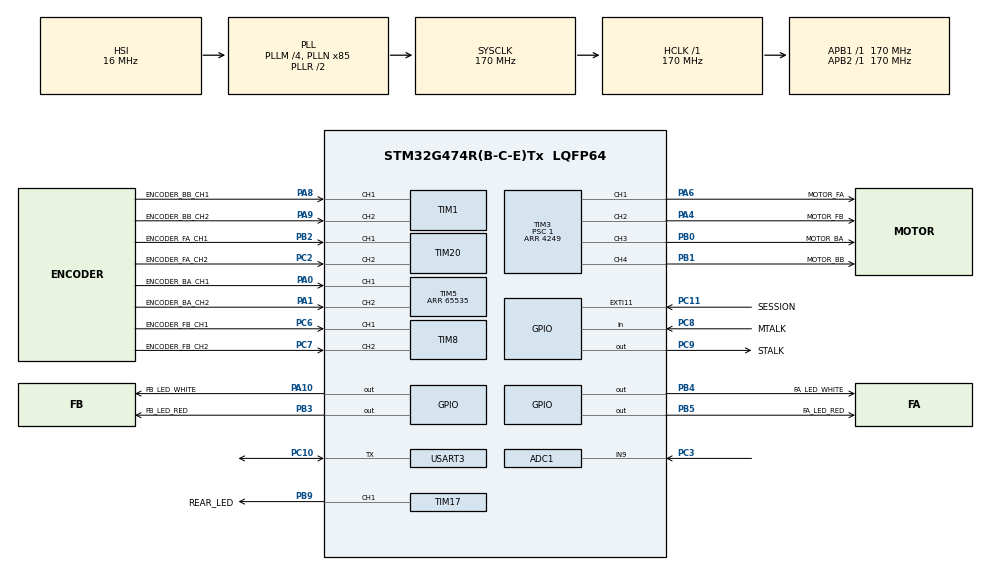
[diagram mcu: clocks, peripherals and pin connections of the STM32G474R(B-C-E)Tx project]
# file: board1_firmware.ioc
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ADC1.Channel-0\#ChannelRegularConversion=ADC_CHANNEL_TEMPSENSOR_ADC1
ADC1.NbrOfConversionFlag=1
ADC1.OffsetNumber-0\#ChannelRegularConversion=ADC_OFFSET_NONE
ADC1.Rank-0\#ChannelRegularConversion=1
ADC1.SamplingTime-0\#ChannelRegularConversion=ADC_SAMPLETIME_2CYCLES_5
ADC1.master=1
Dma.Request0=USART3_RX
Dma.Request1=USART3_TX
Dma.Request2=TIM17_CH1
Dma.TIM17_CH1.2.Direction=DMA_MEMORY_TO_PERIPH
Dma.TIM17_CH1.2.EventEnable=DISABLE
Dma.TIM17_CH1.2.Instance=DMA1_Channel3
Dma.TIM17_CH1.2.MemDataAlignment=DMA_MDATAALIGN_BYTE
Dma.TIM17_CH1.2.MemInc=DMA_MINC_ENABLE
Dma.TIM17_CH1.2.Mode=DMA_CIRCULAR
Dma.TIM17_CH1.2.PeriphDataAlignment=DMA_PDATAALIGN_WORD
Dma.TIM17_CH1.2.PeriphInc=DMA_PINC_DISABLE
Dma.TIM17_CH1.2.Polarity=HAL_DMAMUX_REQ_GEN_RISING
Dma.TIM17_CH1.2.Priority=DMA_PRIORITY_LOW
Dma.TIM17_CH1.2.RequestNumber=1
Dma.TIM17_CH1.2.SignalID=NONE
Dma.TIM17_CH1.2.SyncEnable=DISABLE
Dma.TIM17_CH1.2.SyncPolarity=HAL_DMAMUX_SYNC_NO_EVENT
Dma.TIM17_CH1.2.SyncRequestNumber=1
Dma.TIM17_CH1.2.SyncSignalID=NONE
Dma.USART3_RX.0.Direction=DMA_PERIPH_TO_MEMORY
Dma.USART3_RX.0.EventEnable=DISABLE
Dma.USART3_RX.0.Instance=DMA1_Channel1
Dma.USART3_RX.0.MemDataAlignment=DMA_MDATAALIGN_BYTE
Dma.USART3_RX.0.MemInc=DMA_MINC_ENABLE
Dma.USART3_RX.0.Mode=DMA_NORMAL
Dma.USART3_RX.0.PeriphDataAlignment=DMA_PDATAALIGN_BYTE
Dma.USART3_RX.0.PeriphInc=DMA_PINC_DISABLE
Dma.USART3_RX.0.Polarity=HAL_DMAMUX_REQ_GEN_RISING
Dma.USART3_RX.0.Priority=DMA_PRIORITY_LOW
Dma.USART3_RX.0.RequestNumber=1
Dma.USART3_RX.0.SignalID=NONE
Dma.USART3_RX.0.SyncEnable=DISABLE
Dma.USART3_RX.0.SyncPolarity=HAL_DMAMUX_SYNC_NO_EVENT
Dma.USART3_RX.0.SyncRequestNumber=1
Dma.USART3_RX.0.SyncSignalID=NONE
Dma.USART3_TX.1.Direction=DMA_MEMORY_TO_PERIPH
Dma.USART3_TX.1.EventEnable=DISABLE
Dma.USART3_TX.1.Instance=DMA1_Channel2
Dma.USART3_TX.1.MemDataAlignment=DMA_MDATAALIGN_BYTE
Dma.USART3_TX.1.MemInc=DMA_MINC_ENABLE
Dma.USART3_TX.1.Mode=DMA_NORMAL
Dma.USART3_TX.1.PeriphDataAlignment=DMA_PDATAALIGN_BYTE
Dma.USART3_TX.1.PeriphInc=DMA_PINC_DISABLE
Dma.USART3_TX.1.Polarity=HAL_DMAMUX_REQ_GEN_RISING
Dma.USART3_TX.1.Priority=DMA_PRIORITY_LOW
Dma.USART3_TX.1.RequestNumber=1
Dma.USART3_TX.1.SignalID=NONE
Dma.USART3_TX.1.SyncEnable=DISABLE
Dma.USART3_TX.1.SyncPolarity=HAL_DMAMUX_SYNC_NO_EVENT
Dma.USART3_TX.1.SyncRequestNumber=1
Dma.USART3_TX.1.SyncSignalID=NONE
FREERTOS.Events01=SessionEvent,Static,SessionEventControlBlock
FREERTOS.Tasks01=supervision,24,512,supervisionTask,Default,NULL,Static,supervisionBuffer,supervisionControlBlock;readSensors,16,256,readSensorsTask,Default,NULL,Static,readSensorsBuffer,readSensorsControlBlock;pid,32,384,pidTask,Default,NULL,Static,pidBuffer,pidControlBlock;lights,25,128,lightsTask,Default,NULL,Static,lightsBuffer,lightsControlBlock
FREERTOS.configENABLE_FPU=1
FREERTOS.configTOTAL_HEAP_SIZE=15360
FREERTOS.configUSE_NEWLIB_REENTRANT=1
Mcu.Family=STM32G4
Mcu.Name=STM32G474R(B-C-E)Tx
Mcu.Package=LQFP64
NVIC.DMA1_Channel1_IRQn=true\:5\:0\:false\:false\:true\:true\:false\:true\:true
NVIC.DMA1_Channel2_IRQn=true\:5\:0\:false\:false\:true\:true\:false\:true\:true
NVIC.DMA1_Channel3_IRQn=true\:0\:0\:false\:false\:true\:false\:false\:true\:true
NVIC.EXTI15_10_IRQn=true\:5\:0\:false\:false\:true\:true\:true\:true\:true
NVIC.PriorityGroup=NVIC_PRIORITYGROUP_4
NVIC.TIM4_IRQn=true\:5\:0\:false\:false\:true\:true\:true\:true\:true
NVIC.TIM6_DAC_IRQn=true\:15\:0\:false\:false\:true\:false\:false\:true\:true
NVIC.TimeBase=TIM6_DAC_IRQn
NVIC.TimeBaseIP=TIM6
NVIC.USART3_IRQn=true\:5\:0\:false\:false\:true\:true\:true\:true\:true
PA0.GPIO_Label=ENCODER_BA_CH1
PA0.Signal=S_TIM5_CH1
PA1.GPIO_Label=ENCODER_BA_CH2
PA1.Signal=S_TIM5_CH2
PA10.GPIO_Label=FB_LED_WHITE
PA10.Signal=GPIO_Output
PA4.GPIO_Label=MOTOR_FB
PA4.Signal=S_TIM3_CH2
PA6.GPIO_Label=MOTOR_FA
PA6.Signal=S_TIM3_CH1
PA8.GPIO_Label=ENCODER_BB_CH1
PA8.Signal=S_TIM1_CH1
PA9.GPIO_Label=ENCODER_BB_CH2
PA9.Signal=S_TIM1_CH2
PB0.GPIO_Label=MOTOR_BA
PB0.Signal=S_TIM3_CH3
PB1.GPIO_Label=MOTOR_BB
PB1.Signal=S_TIM3_CH4
PB2.GPIO_Label=ENCODER_FA_CH1
PB2.Signal=S_TIM20_CH1
PB3.GPIO_Label=FB_LED_RED
PB3.Signal=GPIO_Output
PB4.GPIO_Label=FA_LED_WHITE
PB4.Signal=GPIO_Output
PB5.GPIO_Label=FA_LED_RED
PB5.Signal=GPIO_Output
PB9.GPIO_Label=REAR_LED
PB9.Signal=S_TIM17_CH1
PC10.GPIO_PuPd=GPIO_NOPULL
PC10.Mode=Half_duplex(single_wire_mode)
PC10.Signal=USART3_TX
PC11.GPIO_Label=SESSION
PC11.GPIO_PuPd=GPIO_PULLDOWN
PC11.Signal=GPXTI11
PC2.GPIO_Label=ENCODER_FA_CH2
PC2.Signal=S_TIM20_CH2
PC3.Mode=IN9-Single-Ended
PC3.Signal=ADC1_IN9
PC6.GPIO_Label=ENCODER_FB_CH1
PC6.Signal=S_TIM8_CH1
PC7.GPIO_Label=ENCODER_FB_CH2
PC7.Signal=S_TIM8_CH2
PC8.GPIO_Label=MTALK
PC8.GPIO_PuPd=GPIO_PULLDOWN
PC8.Signal=GPIO_Input
PC9.GPIO_Label=STALK
PC9.Signal=GPIO_Output
ProjectManager.HeapSize=0x200
ProjectManager.StackSize=0x400
ProjectManager.TargetToolchain=STM32CubeIDE
RCC.ADC12Freq_Value=170000000
RCC.ADC345Freq_Value=170000000
RCC.AHBFreq_Value=170000000
RCC.APB1Freq_Value=170000000
RCC.APB1TimFreq_Value=170000000
RCC.APB2Freq_Value=170000000
RCC.APB2TimFreq_Value=170000000
RCC.CortexFreq_Value=170000000
RCC.EXTERNAL_CLOCK_VALUE=12288000
RCC.HCLKFreq_Value=170000000
RCC.HSE_VALUE=8000000
RCC.HSI48_VALUE=48000000
RCC.HSI_VALUE=16000000
RCC.LSE_VALUE=32768
RCC.PLLM=RCC_PLLM_DIV4
RCC.PLLN=85
RCC.SYSCLKFreq_VALUE=170000000
RCC.SYSCLKSource=RCC_SYSCLKSOURCE_PLLCLK
RCC.USBFreq_Value=170000000
RCC.VCOOutputFreq_Value=340000000
SH.S_TIM17_CH1.0=TIM17_CH1,PWM Generation1 CH1
SH.S_TIM1_CH1.0=TIM1_CH1,Encoder_Interface
SH.S_TIM1_CH2.0=TIM1_CH2,Encoder_Interface
SH.S_TIM20_CH1.0=TIM20_CH1,Encoder_Interface
SH.S_TIM20_CH2.0=TIM20_CH2,Encoder_Interface
SH.S_TIM3_CH1.0=TIM3_CH1,PWM Generation1 CH1
SH.S_TIM3_CH2.0=TIM3_CH2,PWM Generation2 CH2
SH.S_TIM3_CH3.0=TIM3_CH3,PWM Generation3 CH3
SH.S_TIM3_CH4.0=TIM3_CH4,PWM Generation4 CH4
SH.S_TIM5_CH1.0=TIM5_CH1,Encoder_Interface
SH.S_TIM5_CH2.0=TIM5_CH2,Encoder_Interface
SH.S_TIM8_CH1.0=TIM8_CH1,Encoder_Interface
SH.S_TIM8_CH2.0=TIM8_CH2,Encoder_Interface
TIM1.EncoderMode=TIM_ENCODERMODE_TI12
TIM1.IC1Filter=5
TIM1.IC2Filter=5
TIM17.Channel=TIM_CHANNEL_1
TIM17.PeriodNoDither=211
TIM2.Prescaler=169
TIM20.EncoderMode=TIM_ENCODERMODE_TI12
TIM20.IC1Filter=5
TIM20.IC2Filter=5
TIM3.Channel-PWM\ Generation1\ CH1=TIM_CHANNEL_1
TIM3.Channel-PWM\ Generation2\ CH2=TIM_CHANNEL_2
TIM3.Channel-PWM\ Generation3\ CH3=TIM_CHANNEL_3
TIM3.Channel-PWM\ Generation4\ CH4=TIM_CHANNEL_4
TIM3.Dithering=Disable
TIM3.PeriodNoDither=4249
TIM3.Prescaler=1
TIM4.PeriodNoDither=21999
TIM4.Prescaler=1699
TIM5.EncoderMode=TIM_ENCODERMODE_TI12
TIM5.IC1Filter=5
TIM5.IC2Filter=5
TIM5.PeriodNoDither=65535
TIM8.EncoderMode=TIM_ENCODERMODE_TI12
TIM8.IC1Filter=5
TIM8.IC2Filter=5
USART3.BaudRate=115200
USART3.VirtualMode-Half_duplex(single_wire_mode)=VM_ASYNC
VP_ADC1_TempSens_Input.Mode=IN-TempSens
VP_CRC_VS_CRC.Mode=CRC_Activate
VP_FREERTOS_VS_CMSIS_V2.Mode=CMSIS_V2
VP_SYS_VS_DBSignals.Mode=DisableDeadBatterySignals
VP_SYS_VS_tim6.Mode=TIM6
VP_TIM17_VS_ClockSourceINT.Mode=Enable_Timer
VP_TIM2_VS_ClockSourceINT.Mode=Internal
VP_TIM4_VS_ClockSourceINT.Mode=Internal
board=custom

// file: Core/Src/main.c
/* USER CODE BEGIN Header */
/**
  ******************************************************************************
  * @file           : main.c
  * @brief          : Main program body
  ******************************************************************************
  * @attention
  *
  * Copyright (c) 2025 STMicroelectronics.
  * All rights reserved.
  *
  * This software is licensed under terms that can be found in the LICENSE file
  * in the root directory of this software component.
  * If no LICENSE file comes with this software, it is provided AS-IS.
  *
  ******************************************************************************
  */
/* USER CODE END Header */
#include "main.h"
#include "cmsis_os.h"
#include "adc.h"
#include "crc.h"
#include "dma.h"
#include "tim.h"
#include "usart.h"
#include "gpio.h"

/* USER CODE BEGIN Includes */
#include "deadline_watchdog.h"
/* USER CODE END Includes */

/* USER CODE BEGIN PV */
extern Deadline_Watchdog_t hard_rt_deadline_wd;
extern boolean_T deadline;
boolean_T first_time = 0;
/* USER CODE END PV */

void SystemClock_Config(void);
void MX_FREERTOS_Init(void);

int main(void)
{

  /* MCU Configuration--------------------------------------------------------*/

  /* Reset of all peripherals, Initializes the Flash interface and the Systick. */
  HAL_Init();

  /* Configure the system clock */
  SystemClock_Config();

  /* Initialize all configured peripherals */
  MX_GPIO_Init();
  MX_DMA_Init();
  MX_CRC_Init();
  MX_TIM3_Init();
  MX_ADC1_Init();
  MX_TIM1_Init();
  MX_TIM5_Init();
  MX_TIM8_Init();
  MX_TIM20_Init();
  MX_TIM4_Init();
  MX_USART3_UART_Init();
  MX_TIM17_Init();
  MX_TIM2_Init();
  /* USER CODE BEGIN 2 */
  HAL_TIM_Base_Start(&htim2);
  /* USER CODE END 2 */

  /* Init scheduler */
  osKernelInitialize();

  /* Call init function for freertos objects (in cmsis_os2.c) */
  MX_FREERTOS_Init();

  /* Start scheduler */
  osKernelStart();

  /* We should never get here as control is now taken by the scheduler */

  /* Infinite loop */
  while (1)
  {

  }
}

void SystemClock_Config(void)
{
  RCC_OscInitTypeDef RCC_OscInitStruct = {0};
  RCC_ClkInitTypeDef RCC_ClkInitStruct = {0};

  /** Configure the main internal regulator output voltage
  */
  HAL_PWREx_ControlVoltageScaling(PWR_REGULATOR_VOLTAGE_SCALE1_BOOST);

  /** Initializes the RCC Oscillators according to the specified parameters
  * in the RCC_OscInitTypeDef structure.
  */
  RCC_OscInitStruct.OscillatorType = RCC_OSCILLATORTYPE_HSI;
  RCC_OscInitStruct.HSIState = RCC_HSI_ON;
  RCC_OscInitStruct.HSICalibrationValue = RCC_HSICALIBRATION_DEFAULT;
  RCC_OscInitStruct.PLL.PLLState = RCC_PLL_ON;
  RCC_OscInitStruct.PLL.PLLSource = RCC_PLLSOURCE_HSI;
  RCC_OscInitStruct.PLL.PLLM = RCC_PLLM_DIV4;
  RCC_OscInitStruct.PLL.PLLN = 85;
  RCC_OscInitStruct.PLL.PLLP = RCC_PLLP_DIV2;
  RCC_OscInitStruct.PLL.PLLQ = RCC_PLLQ_DIV2;
  RCC_OscInitStruct.PLL.PLLR = RCC_PLLR_DIV2;
  if (HAL_RCC_OscConfig(&RCC_OscInitStruct) != HAL_OK)
  {
    Error_Handler();
  }

  /** Initializes the CPU, AHB and APB buses clocks
  */
  RCC_ClkInitStruct.ClockType = RCC_CLOCKTYPE_HCLK|RCC_CLOCKTYPE_SYSCLK
                              |RCC_CLOCKTYPE_PCLK1|RCC_CLOCKTYPE_PCLK2;
  RCC_ClkInitStruct.SYSCLKSource = RCC_SYSCLKSOURCE_PLLCLK;
  RCC_ClkInitStruct.AHBCLKDivider = RCC_SYSCLK_DIV1;
  RCC_ClkInitStruct.APB1CLKDivider = RCC_HCLK_DIV1;
  RCC_ClkInitStruct.APB2CLKDivider = RCC_HCLK_DIV1;

  if (HAL_RCC_ClockConfig(&RCC_ClkInitStruct, FLASH_LATENCY_4) != HAL_OK)
  {
    Error_Handler();
  }
}

void HAL_TIM_PeriodElapsedCallback(TIM_HandleTypeDef *htim)
{
  if (htim->Instance == TIM6)
  {
    HAL_IncTick();
  }
  /* USER CODE BEGIN Callback 1 */
  DWD_CheckStatus(&hard_rt_deadline_wd, htim);
  /* USER CODE END Callback 1 */
}

void Error_Handler(void)
{
  __disable_irq();
  while (1)
  {
  }
}

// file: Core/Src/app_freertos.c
/* USER CODE BEGIN Header */
/**
  ******************************************************************************
  * File Name          : app_freertos.c
  * Description        : Code for freertos applications
  ******************************************************************************
  * @attention
  *
  * Copyright (c) 2025 STMicroelectronics.
  * All rights reserved.
  *
  * This software is licensed under terms that can be found in the LICENSE file
  * in the root directory of this software component.
  * If no LICENSE file comes with this software, it is provided AS-IS.
  *
  ******************************************************************************
  */
/* USER CODE END Header */

#include "FreeRTOS.h"
#include "task.h"
#include "main.h"
#include "cmsis_os.h"

/* USER CODE BEGIN Includes */
#include "Board1.h"
#include "batt.h"
#include "temp.h"
#include "encoder.h"
#include "pid_law.h"
#include "motor.h"
#include "stdlib.h"
#include "led.h"
#include "led_stripes.h"
#include "deadline_watchdog.h"
#include "utils.h"
#include "hw_config.h"
#include "motor_diagnostic.h"
/* USER CODE END Includes */

typedef StaticTask_t osStaticThreadDef_t;
typedef StaticEventGroup_t osStaticEventGroupDef_t;

/* USER CODE BEGIN PD */
#define DWD_FLAG_SUPERVISION		(1U << 0)
#define DWD_FLAG_READ_SENSORS		(1U << 1)
#define DWD_FLAG_PID				(1U << 2)
#define DWD_FLAG_LIGHT				(1U << 3)

#define SYSTEM_ALIVE_MASK (DWD_FLAG_SUPERVISION | DWD_FLAG_READ_SENSORS | DWD_FLAG_PID | DWD_FLAG_LIGHT )

#define EVT_SESSION   			(1U << 0)

#define PID_PERIOD				(5.0f)
#define LIGHTS_PERIOD			(50)
#define SUPERVISION_PERIOD	    (60)

#define RAMP_STEP_DEFAULT (RAMP_SLOPE_DEFAULT_RPM_S * (PID_PERIOD / 1000.0f))
#define RAMP_STEP_SPORT   (RAMP_SLOPE_SPORT_RPM_S   * (PID_PERIOD / 1000.0f))
#define RAMP_STEP_ECO     (RAMP_SLOPE_ECO_RPM_S     * (PID_PERIOD / 1000.0f))

#define DIAG_DELAY_SHIFT    0
#define DIAG_MAX_AREA_ERR   5000.0f

/* USER CODE END PD */

/* USER CODE BEGIN Variables */

MotorDiag_Handle_t h_diag_FA;
MotorDiag_Handle_t h_diag_FB;
MotorDiag_Handle_t h_diag_BA;
MotorDiag_Handle_t h_diag_BB;

Deadline_Watchdog_t hard_rt_deadline_wd;

EncoderHandle encoder_FA;
EncoderHandle encoder_FB;
EncoderHandle encoder_BA;
EncoderHandle encoder_BB;
EncoderHandle encoder_FA_pid;
EncoderHandle encoder_FB_pid;
EncoderHandle encoder_BA_pid;
EncoderHandle encoder_BB_pid;

temp_t temp_sensor;
batt_t battery_sensor;

int16_T vel_FA = 0;
int16_T vel_FB = 0;
int16_T vel_BA = 0;
int16_T vel_BB = 0;

Motor_t motor_FA;
Motor_t motor_FB;
Motor_t motor_BA;
Motor_t motor_BB;

float control_BB = 0.0;
float control_BA = 0.0;
float control_FB = 0.0;
float control_FA = 0.0;

uint8_t out_BB = 0;
uint8_t out_BA = 0;
uint8_t out_FB = 0;
uint8_t out_FA = 0;

PID_Law_t pid_FA;
PID_Law_t pid_FB;
PID_Law_t pid_BA;
PID_Law_t pid_BB;

real32_T a1 = 1.0;

real32_T b0_FA = 0.011526;
real32_T b0_FB = 0.012068;
real32_T b0_BA = 0.01182;
real32_T b0_BB = 0.011206;

real32_T b1_FA = -0.0062;
real32_T b1_FB = -0.0066;
real32_T b1_BA = -0.0062;
real32_T b1_BB = -0.0059;

real32_T ramp_step;

led_t ledA;
led_t ledB;

/* USER CODE END Variables */
/* Definitions for supervision */
osThreadId_t supervisionHandle;
uint32_t supervisionBuffer[ 512 ];
osStaticThreadDef_t supervisionControlBlock;
const osThreadAttr_t supervision_attributes = {
  .name = "supervision",
  .stack_mem = &supervisionBuffer[0],
  .stack_size = sizeof(supervisionBuffer),
  .cb_mem = &supervisionControlBlock,
  .cb_size = sizeof(supervisionControlBlock),
  .priority = (osPriority_t) osPriorityNormal,
};
/* Definitions for readSensors */
osThreadId_t readSensorsHandle;
uint32_t readSensorsBuffer[ 256 ];
osStaticThreadDef_t readSensorsControlBlock;
const osThreadAttr_t readSensors_attributes = {
  .name = "readSensors",
  .stack_mem = &readSensorsBuffer[0],
  .stack_size = sizeof(readSensorsBuffer),
  .cb_mem = &readSensorsControlBlock,
  .cb_size = sizeof(readSensorsControlBlock),
  .priority = (osPriority_t) osPriorityBelowNormal,
};
/* Definitions for pid */
osThreadId_t pidHandle;
uint32_t pidBuffer[ 384 ];
osStaticThreadDef_t pidControlBlock;
const osThreadAttr_t pid_attributes = {
  .name = "pid",
  .stack_mem = &pidBuffer[0],
  .stack_size = sizeof(pidBuffer),
  .cb_mem = &pidControlBlock,
  .cb_size = sizeof(pidControlBlock),
  .priority = (osPriority_t) osPriorityAboveNormal,
};
/* Definitions for lights */
osThreadId_t lightsHandle;
uint32_t lightsBuffer[ 128 ];
osStaticThreadDef_t lightsControlBlock;
const osThreadAttr_t lights_attributes = {
  .name = "lights",
  .stack_mem = &lightsBuffer[0],
  .stack_size = sizeof(lightsBuffer),
  .cb_mem = &lightsControlBlock,
  .cb_size = sizeof(lightsControlBlock),
  .priority = (osPriority_t) osPriorityNormal1,
};
/* Definitions for SessionEvent */
osEventFlagsId_t SessionEventHandle;
osStaticEventGroupDef_t SessionEventControlBlock;
const osEventFlagsAttr_t SessionEvent_attributes = {
  .name = "SessionEvent",
  .cb_mem = &SessionEventControlBlock,
  .cb_size = sizeof(SessionEventControlBlock),
};

/* USER CODE BEGIN FunctionPrototypes */
void executeSupervision(void);
void safety_stop_and_halt(void);

static Encoder_Status_t init_encoders_supervision(void)
{
    Encoder_Status_t status = ENCODER_ERR;

    if (encoder_init(&encoder_FA, ENCODER_HW_CONFIG[ENCODER_FA].htim, &ENCODER_HW_CONFIG[ENCODER_FA].calib, SUPERVISION_PERIOD) == ENCODER_OK)
    {
        if (encoder_init(&encoder_FB, ENCODER_HW_CONFIG[ENCODER_FB].htim, &ENCODER_HW_CONFIG[ENCODER_FB].calib, SUPERVISION_PERIOD) == ENCODER_OK)
        {
            if (encoder_init(&encoder_BA, ENCODER_HW_CONFIG[ENCODER_BA].htim, &ENCODER_HW_CONFIG[ENCODER_BA].calib, SUPERVISION_PERIOD) == ENCODER_OK)
            {
                if (encoder_init(&encoder_BB, ENCODER_HW_CONFIG[ENCODER_BB].htim, &ENCODER_HW_CONFIG[ENCODER_BB].calib, SUPERVISION_PERIOD) == ENCODER_OK)
                {
                    status = ENCODER_OK;
                }
            }
        }
    }

    return status;
}

static Encoder_Status_t init_encoders_pid(void)
{
    Encoder_Status_t status = ENCODER_ERR;

    if (encoder_init(&encoder_FA_pid, ENCODER_HW_CONFIG[ENCODER_FA].htim, &ENCODER_HW_CONFIG[ENCODER_FA].calib, PID_PERIOD) == ENCODER_OK)
    {
        if (encoder_init(&encoder_FB_pid, ENCODER_HW_CONFIG[ENCODER_FB].htim, &ENCODER_HW_CONFIG[ENCODER_FB].calib, PID_PERIOD) == ENCODER_OK)
        {
            if (encoder_init(&encoder_BA_pid, ENCODER_HW_CONFIG[ENCODER_BA].htim, &ENCODER_HW_CONFIG[ENCODER_BA].calib, PID_PERIOD) == ENCODER_OK)
            {
                if (encoder_init(&encoder_BB_pid, ENCODER_HW_CONFIG[ENCODER_BB].htim, &ENCODER_HW_CONFIG[ENCODER_BB].calib, PID_PERIOD) == ENCODER_OK)
                {
                    status = ENCODER_OK;
                }
            }
        }
    }

    return status;
}

static Motor_Status_t init_motors(void)
{
    Motor_Status_t status = MOTOR_ERR;

    if (motor_init(&motor_FA, MOTOR_HW_CONFIG[MOTOR_FA].htim, MOTOR_HW_CONFIG[MOTOR_FA].channel, &MOTOR_HW_CONFIG[MOTOR_FA].calib) == MOTOR_OK)
    {
        if (motor_init(&motor_FB, MOTOR_HW_CONFIG[MOTOR_FB].htim, MOTOR_HW_CONFIG[MOTOR_FB].channel, &MOTOR_HW_CONFIG[MOTOR_FB].calib) == MOTOR_OK)
        {
            if (motor_init(&motor_BA, MOTOR_HW_CONFIG[MOTOR_BA].htim, MOTOR_HW_CONFIG[MOTOR_BA].channel, &MOTOR_HW_CONFIG[MOTOR_BA].calib) == MOTOR_OK)
            {
                if (motor_init(&motor_BB, MOTOR_HW_CONFIG[MOTOR_BB].htim, MOTOR_HW_CONFIG[MOTOR_BB].channel, &MOTOR_HW_CONFIG[MOTOR_BB].calib) == MOTOR_OK)
                {
                    status = MOTOR_OK;
                }
            }
        }
    }

    return status;
}
/* USER CODE END FunctionPrototypes */

void supervisionTask(void *argument);
void readSensorsTask(void *argument);
void pidTask(void *argument);
void lightsTask(void *argument);

void MX_FREERTOS_Init(void); /* (MISRA C 2004 rule 8.1) */

void MX_FREERTOS_Init(void) {
  /* USER CODE BEGIN Init */
	uint8_t init_status = 1U;

	DWD_Init(&hard_rt_deadline_wd, &htim4, SYSTEM_ALIVE_MASK, safety_stop_and_halt);

	if(batt_init(&battery_sensor, ADC_HW_CONFIG[ADC_BATTERY_VOLTAGE].hadc, &ADC_HW_CONFIG[ADC_BATTERY_VOLTAGE].channel_cfg, BATT_DEFAULT_TIMEOUT_MS) != BATT_OK){
		init_status = 0U;
	}

	if (init_status == 1U) {
		if(temp_init(&temp_sensor,ADC_HW_CONFIG[ADC_TEMP_SENSOR].hadc, &ADC_HW_CONFIG[ADC_TEMP_SENSOR].channel_cfg, TEMP_DEFAULT_TIMEOUT_MS) != TEMP_OK){
			init_status = 0U;
		}
	}

	if (init_status == 1U) {
		if (init_encoders_supervision() != ENCODER_OK){
			init_status = 0U;
		}
	}

	if (init_status == 1U) {
		if (init_encoders_pid() != ENCODER_OK){
			init_status = 0U;
		}
	}

	if (init_status == 1U) {
		if (init_motors() != MOTOR_OK){
			init_status = 0U;
		}
	}

	MotorDiag_Config_t diag_cfg = {
		.delay_shift = DIAG_DELAY_SHIFT,
		.max_area_limit = DIAG_MAX_AREA_ERR
	};

	if (init_status == 1U) {
		if (motor_diag_init(&h_diag_FA, &diag_cfg) != M_DIAG_OK) {
			init_status = 0U;
		}
	}

	if (init_status == 1U) {
		if (motor_diag_init(&h_diag_FB, &diag_cfg) != M_DIAG_OK) {
			init_status = 0U;
		}
	}

	if (init_status == 1U) {
		if (motor_diag_init(&h_diag_BA, &diag_cfg) != M_DIAG_OK) {
			init_status = 0U;
		}
	}

	if (init_status == 1U) {
		if (motor_diag_init(&h_diag_BB, &diag_cfg) != M_DIAG_OK) {
			init_status = 0U;
		}
	}

	if (init_status == 1U) {
		if (PID_Law_init(&pid_FA, a1, b0_FA, b1_FA) != PID_LAW_OK) {
			init_status = 0U;
		}
	}

	if (init_status == 1U) {
		if (PID_Law_init(&pid_FB, a1, b0_FB, b1_FB) != PID_LAW_OK) {
			init_status = 0U;
		}
	}

	if (init_status == 1U) {
		if (PID_Law_init(&pid_BA, a1, b0_BA, b1_BA) != PID_LAW_OK) {
			init_status = 0U;
		}
	}

	if (init_status == 1U) {
		if (PID_Law_init(&pid_BB, a1, b0_BB, b1_BB) != PID_LAW_OK) {
			init_status = 0U;
		}
	}

	if (init_status == 1U) {
		if(led_stripe_init(&led_stripes_cfg[LED_STRIPES_MAIN]) != LED_STRIPE_OK){
			init_status = 0U;
		}
	}

	if (init_status == 1U) {
		if(led_init(&ledA, HW_LED_CONFIG[LED_A].port, HW_LED_CONFIG[LED_A].pin, HW_LED_CONFIG[LED_A].init_pin_state) != LED_OK){
			init_status = 0U;
		}
	}

	if (init_status == 1U) {
		if(led_init(&ledB, HW_LED_CONFIG[LED_B].port, HW_LED_CONFIG[LED_B].pin, HW_LED_CONFIG[LED_B].init_pin_state) != LED_OK){
			init_status = 0U;
		}
	}

	if (init_status == 0U) {
		Error_Handler();
	}
	else {
		Board1_initialize();
	}
  /* USER CODE END Init */

  /* Create the thread(s) */
  /* creation of supervision */
  supervisionHandle = osThreadNew(supervisionTask, NULL, &supervision_attributes);

  /* creation of readSensors */
  readSensorsHandle = osThreadNew(readSensorsTask, NULL, &readSensors_attributes);

  /* creation of pid */
  pidHandle = osThreadNew(pidTask, NULL, &pid_attributes);

  /* creation of lights */
  lightsHandle = osThreadNew(lightsTask, NULL, &lights_attributes);

  /* Create the event(s) */
  /* creation of SessionEvent */
  SessionEventHandle = osEventFlagsNew(&SessionEvent_attributes);

}

void supervisionTask(void *argument)
{
  /* USER CODE BEGIN supervisionTask */

	for(;;){
		osEventFlagsWait(SessionEventHandle, EVT_SESSION, osFlagsWaitAny, pdMS_TO_TICKS(SUPERVISION_PERIOD));
		executeSupervision();
		DWD_Notify(&hard_rt_deadline_wd, DWD_FLAG_SUPERVISION);
	}
  /* USER CODE END supervisionTask */
}

void readSensorsTask(void *argument)
{
  /* USER CODE BEGIN readSensorsTask */
	uint8_t temp_comm_fail_count = 0;
	uint8_t batt_comm_fail_count = 0;
	TickType_t xLastWakeTime = xTaskGetTickCount();
	const TickType_t xFrequency = pdMS_TO_TICKS(SUPERVISION_PERIOD);

	real32_T battery_voltage_raw = 0.0f;
	real32_T temperature;

	const real32_T batt_alpha = 0.05f;

	real32_T battery_voltage_filtered = -1.0f;

	for(;;){
		vTaskDelayUntil(&xLastWakeTime, xFrequency);

		if (encoder_readRPM(&encoder_FA) != ENCODER_OK) { safety_stop_and_halt(); }
		if (encoder_readRPM(&encoder_FB) != ENCODER_OK) { safety_stop_and_halt(); }
		if (encoder_readRPM(&encoder_BA) != ENCODER_OK) { safety_stop_and_halt(); }
		if (encoder_readRPM(&encoder_BB) != ENCODER_OK) { safety_stop_and_halt(); }

		Temp_Status_t temp_st = temp_get_celsius_once(&temp_sensor, &temperature);

		if (temp_st == TEMP_ERR) {
			safety_stop_and_halt();
		}
		else if (temp_st == TEMP_ERR_COMM) {
			temp_comm_fail_count++;
			if (temp_comm_fail_count >= 5U) {
				safety_stop_and_halt();
			}
		}
		else {
			temp_comm_fail_count = 0U;
		}

		Batt_Status_t batt_st = batt_get_voltage_once(&battery_sensor, &battery_voltage_raw);
		if (batt_st == BATT_ERR) {
			safety_stop_and_halt();
		}
		else if (batt_st == BATT_ERR_COMM) {
			batt_comm_fail_count++;
			if (batt_comm_fail_count >= 5U) {
				safety_stop_and_halt();
			}
		}
		else {
			batt_comm_fail_count = 0U;

			if (battery_voltage_filtered < 0.0f) {
				battery_voltage_filtered = battery_voltage_raw;
			} else {
				battery_voltage_filtered = (battery_voltage_raw * batt_alpha) + (battery_voltage_filtered * (1.0f - batt_alpha));
			}
		}

		vel_FA = (int16_T) roundf(encoder_FA.velocity);
		vel_FB = (int16_T) roundf(encoder_FB.velocity);
		vel_BA = (int16_T) roundf(encoder_BA.velocity);
		vel_BB = (int16_T) roundf(encoder_BB.velocity);

		if (motor_diag_process(&h_diag_FA) != M_DIAG_OK) {
			safety_stop_and_halt();
		}

		if (motor_diag_process(&h_diag_FB) != M_DIAG_OK) {
			safety_stop_and_halt();
		}

		if (motor_diag_process(&h_diag_BA) != M_DIAG_OK) {
			safety_stop_and_halt();
		}

		if (motor_diag_process(&h_diag_BB) != M_DIAG_OK) {
			safety_stop_and_halt();
		}

		taskENTER_CRITICAL();

		Board1_U.temperature = temperature;
		Board1_U.battery_voltage = battery_voltage_filtered;
		Board1_U.velocity_FA = vel_FA;
		Board1_U.velocity_FB = vel_FB;
		Board1_U.velocity_BA = vel_BA;
		Board1_U.velocity_BB = vel_BB;

		Board1_U.motorError_FA = (h_diag_FA.health_status == MOTOR_FAILURE);
		Board1_U.motorError_FB = (h_diag_FB.health_status == MOTOR_FAILURE);
		Board1_U.motorError_BA = (h_diag_BA.health_status == MOTOR_FAILURE);
		Board1_U.motorError_BB = (h_diag_BB.health_status == MOTOR_FAILURE);

		taskEXIT_CRITICAL();

		DWD_Notify(&hard_rt_deadline_wd, DWD_FLAG_READ_SENSORS);
	}
  /* USER CODE END readSensorsTask */
}

void pidTask(void *argument)
{
  /* USER CODE BEGIN pidTask */
	TickType_t xLastWakeTime = xTaskGetTickCount();
	const TickType_t xFrequency = pdMS_TO_TICKS(PID_PERIOD);
	real32_T rif_FA;
	real32_T rif_FB;
	real32_T rif_BA;
	real32_T rif_BB;
	BRAKING_TYPE braking_mode;
	ROVER_MODE rover_mode;
	real32_T rif_FA_r = 0.0f;
	real32_T rif_FB_r = 0.0f;
	real32_T rif_BA_r = 0.0f;
	real32_T rif_BB_r = 0.0f;

	for (;;)
	{
		vTaskDelayUntil(&xLastWakeTime, xFrequency);
		taskENTER_CRITICAL();

		rif_FA = Board1_Y.output.rif_FA;
		rif_FB = Board1_Y.output.rif_FB;
		rif_BA = Board1_Y.output.rif_BA;
		rif_BB = Board1_Y.output.rif_BB;
		braking_mode = Board1_Y.output.brk_mode;
		rover_mode = Board1_Y.output.mode;

		taskEXIT_CRITICAL();

		if (encoder_readRPM(&encoder_FA_pid) != ENCODER_OK) {
			safety_stop_and_halt();
		}

		if (encoder_readRPM(&encoder_FB_pid) != ENCODER_OK) {
			safety_stop_and_halt();
		}

		if (encoder_readRPM(&encoder_BA_pid) != ENCODER_OK) {
			safety_stop_and_halt();
		}

		if (encoder_readRPM(&encoder_BB_pid) != ENCODER_OK) {
			safety_stop_and_halt();
		}

		switch (rover_mode)
		{
			case SPORT:
				ramp_step = RAMP_STEP_SPORT;
				break;

			case ECO:
				ramp_step = RAMP_STEP_ECO;
				break;

			default:
				ramp_step = RAMP_STEP_DEFAULT;
				break;
		}

		rif_FA_r = ramp(rif_FA_r, rif_FA, ramp_step, braking_mode);
		rif_FB_r = ramp(rif_FB_r, rif_FB, ramp_step, braking_mode);
		rif_BA_r = ramp(rif_BA_r, rif_BA, ramp_step, braking_mode);
		rif_BB_r = ramp(rif_BB_r, rif_BB, ramp_step, braking_mode);

		if (motor_diag_record(&h_diag_FA, rif_FA_r, encoder_FA_pid.velocity) != M_DIAG_OK) {
			safety_stop_and_halt();
		}

		if (motor_diag_record(&h_diag_FB, rif_FB_r, encoder_FB_pid.velocity) != M_DIAG_OK) {
			safety_stop_and_halt();
		}

		if (motor_diag_record(&h_diag_BA, rif_BA_r, encoder_BA_pid.velocity) != M_DIAG_OK) {
			safety_stop_and_halt();
		}

		if (motor_diag_record(&h_diag_BB, rif_BB_r, encoder_BB_pid.velocity) != M_DIAG_OK) {
			safety_stop_and_halt();
		}

		if (PID_Law_compute(&pid_FA, rif_FA_r, encoder_FA_pid.velocity, &control_FA) != PID_LAW_OK) {
			safety_stop_and_halt();
		}
		out_FA = abs(round(control_FA * (float)MOTOR_MAX_DUTY / U_MAX));

		if (PID_Law_compute(&pid_FB, rif_FB_r, encoder_FB_pid.velocity, &control_FB) != PID_LAW_OK) {
			safety_stop_and_halt();
		}
		out_FB = abs(round(control_FB * (float)MOTOR_MAX_DUTY / U_MAX));

		if (PID_Law_compute(&pid_BA, rif_BA_r, encoder_BA_pid.velocity, &control_BA) != PID_LAW_OK) {
			safety_stop_and_halt();
		}
		out_BA = abs(round(control_BA * (float)MOTOR_MAX_DUTY / U_MAX));

		if (PID_Law_compute(&pid_BB, rif_BB_r, encoder_BB_pid.velocity, &control_BB) != PID_LAW_OK) {
			safety_stop_and_halt();
		}
		out_BB = abs(round(control_BB * (float)MOTOR_MAX_DUTY / U_MAX));

		if (motor_set(&motor_FA, out_FA, (control_FA > 0.0f) ? CLOCKWISE : COUNTERCLOCKWISE) != MOTOR_OK) {
			safety_stop_and_halt();
		}

		if (motor_set(&motor_FB, out_FB, (control_FB > 0.0f) ? CLOCKWISE : COUNTERCLOCKWISE) != MOTOR_OK) {
			safety_stop_and_halt();
		}

		if (motor_set(&motor_BA, out_BA, (control_BA > 0.0f) ? CLOCKWISE : COUNTERCLOCKWISE) != MOTOR_OK) {
			safety_stop_and_halt();
		}

		if (motor_set(&motor_BB, out_BB, (control_BB > 0.0f) ? CLOCKWISE : COUNTERCLOCKWISE) != MOTOR_OK) {
			safety_stop_and_halt();
		}

		DWD_Notify(&hard_rt_deadline_wd, DWD_FLAG_PID);
	}

  /* USER CODE END pidTask */
}

void lightsTask(void *argument)
{
  /* USER CODE BEGIN lightsTask */
	TickType_t xLastWakeTime = xTaskGetTickCount();
	const TickType_t xFrequency = pdMS_TO_TICKS(LIGHTS_PERIOD);
	LED_TYPE led_FA;
	LED_TYPE led_FB;
	REAR_SIGN_TYPE rear_sign;
	REAR_LED_TYPE rear_led;

	for(;;)
	{
		vTaskDelayUntil(&xLastWakeTime, xFrequency);

		taskENTER_CRITICAL();

		led_FA = Board1_Y.output.led_A;
		led_FB = Board1_Y.output.led_B;
		rear_led = Board1_Y.output.rear_led;
		rear_sign = Board1_Y.output.rear_sign;

		taskEXIT_CRITICAL();

		(void)led_step(&ledA, led_FA);
		(void)led_step(&ledB, led_FB);
		(void)rear_led_step(rear_led);
		(void)rear_sign_step(rear_sign);
		(void)led_render();

		DWD_Notify(&hard_rt_deadline_wd, DWD_FLAG_LIGHT);
	}
  /* USER CODE END lightsTask */
}

/* USER CODE BEGIN Application */

void executeSupervision(void){

	do{
		Board1_step();
	}
	while((Board1_DW.is_Supervisor != Board1_IN_Same_decision) &&
			(Board1_DW.is_Single_Board != Board1_IN_Other_board_failure) &&
				(Board1_DW.is_Degraded != Board1_IN_Restarting) &&
					(Board1_DW.is_Restablish != Boar_IN_Connection_restablished));
}

void vApplicationStackOverflowHook(TaskHandle_t xTask, char *pcTaskName)
{
    safety_stop_and_halt();
}

/* Wrapper unico per arresto di sicurezza */
void safety_stop_and_halt(void)
{
	__disable_irq(); // Disabilitazione di ogni ulteriore Interrupt

	// Ferma tutti i motori
	(void)motor_set(&motor_FA, 0U, CLOCKWISE);
	(void)motor_set(&motor_FB, 0U, CLOCKWISE);
	(void)motor_set(&motor_BA, 0U, CLOCKWISE);
	(void)motor_set(&motor_BB, 0U, CLOCKWISE);

	// Ferma i PWM
	(void)HAL_TIM_PWM_Stop(&htim3, TIM_CHANNEL_1);
	(void)HAL_TIM_PWM_Stop(&htim3, TIM_CHANNEL_2);
	(void)HAL_TIM_PWM_Stop(&htim3, TIM_CHANNEL_3);
	(void)HAL_TIM_PWM_Stop(&htim3, TIM_CHANNEL_4);

	// Ferma gli encoder
	(void)HAL_TIM_Base_Stop(&htim20);
	(void)HAL_TIM_Base_Stop(&htim8);
	(void)HAL_TIM_Base_Stop(&htim5);
	(void)HAL_TIM_Base_Stop(&htim1);

	while (1) {
		// Blocco del sistema in condizioni di sicurezza
	}
}

void HAL_GPIO_EXTI_Callback(uint16_t GPIO_Pin)
{
	if (GPIO_Pin == SESSION_Pin)
	{
		osEventFlagsSet(SessionEventHandle, EVT_SESSION);
	}
}
/* USER CODE END Application */
